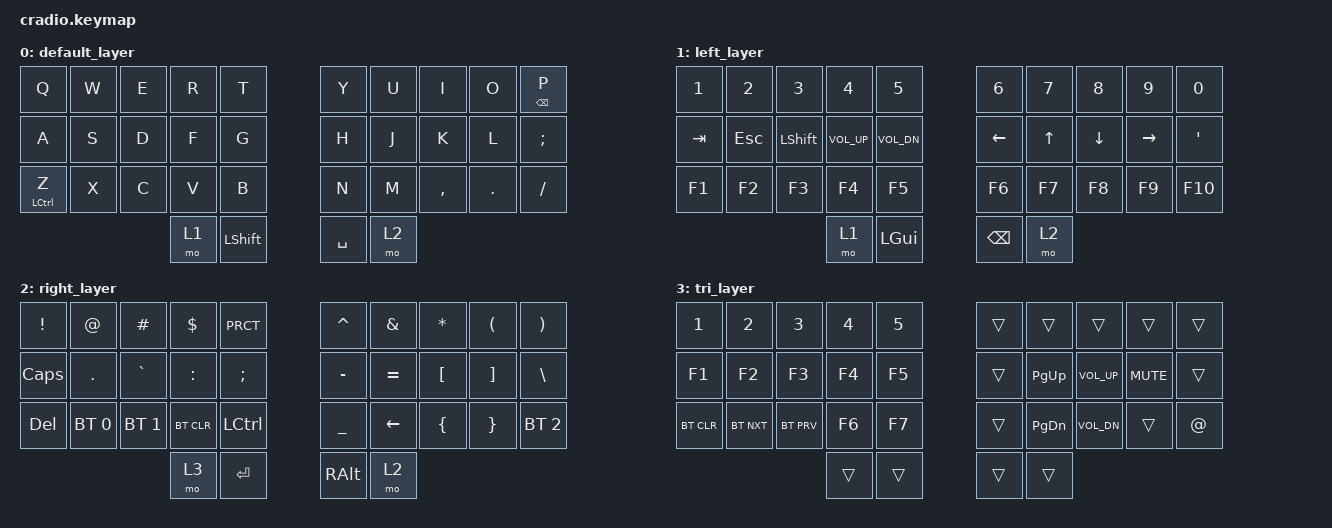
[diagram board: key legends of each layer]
/*
 * Copyright (c) 2020 The ZMK Contributors
 *
 * SPDX-License-Identifier: MIT
 */

#include <behaviors.dtsi>
#include <dt-bindings/zmk/keys.h>
#include <dt-bindings/zmk/bt.h>


&mt {
  //  flavor = "tap-preferred";
   // tapping_term_ms = <200>;
};

/ { 

    combos {
        compatible = "zmk,combos";
        combo_esc {
            timeout-ms = <50>;
            key-positions = <0 1>;
            bindings = <&kp ESC>;
        };
        
         combo_tab {
            timeout-ms = <50>;
            key-positions = <10 11>;
            bindings = <&kp TAB>;
        };
        
            combo_ralt {
            timeout-ms = <50>;
            key-positions = <17 16>;
            bindings = <&kp RALT>;
        };
        
                    combo_lalt {
            timeout-ms = <50>;
            key-positions = <11 12>;
            bindings = <&kp LALT>;
        };
        
                           combo_lgui {
            timeout-ms = <50>;
            key-positions = <12 13>;
            bindings = <&kp LGUI>;
        };
        
        
           combo_rgui {
            timeout-ms = <50>;
            key-positions = <17 18>;
            bindings = <&kp RGUI>;
        };
        

        
    };

        keymap {
                compatible = "zmk,keymap";
                
       		default_layer {
		bindings = <
		&kp Q &kp W &kp E &kp R &kp T 						&kp Y &kp U  &kp I    &kp O   &mt BSPC P 
		&kp A &kp S &kp D &kp F &kp G 			        	        &kp H &kp J &kp K &kp L &kp SEMI
		&mt LCTL Z &kp X &kp C &kp V &kp B			                &kp N &kp M  &kp CMMA &kp DOT &kp FSLH
          				&mo 1 &kp LSHFT  				&kp SPC &mo 2 
		>;
		};

       		left_layer {
		bindings = <
		&kp NUM_1  &kp NUM_2    &kp NUM_3    &kp NUM_4    &kp NUM_5		&kp NUM_6 &kp NUM_7 &kp NUM_8 &kp NUM_9 &kp NUM_0 
		&kp TAB    &kp ESC    &kp LSHFT      &kp C_VOL_UP     &kp C_VOL_DN 	&kp LEFT &kp UP  &kp DOWN &kp RIGHT  &kp SQT 
		&kp F1    &kp F2 	&kp F3 &kp F4  &kp F5                   	&kp F6 &kp F7 &kp F8 &kp F9  &kp F10 
					    &mo 1  &kp LGUI  					&kp BSPC &mo 2 
		>;
		};
		
		right_layer {
		bindings = <
		&kp EXCL  &kp AT &kp HASH  &kp DLLR  &kp PRCT    			&kp CARET  &kp AMPS &kp STAR &kp LPAR &kp RPAR 
		&kp CLCK  &kp DOT  &kp GRAVE  &kp COLN  &kp SCLN 			&kp MINUS &kp EQUAL  &kp LBKT  &kp RBKT   &kp BSLH
		&kp DEL  &bt BT_SEL 0 &bt BT_SEL 1 &bt BT_CLR   &kp LCTL    		&kp UNDER &kp LEFT  &kp LBRC &kp RBRC  &bt BT_SEL 2
					  &mo 3 &kp ENTER  				&kp RALT  &mo 2 
		>;
		};	
		
		tri_layer {
		bindings = <
		&kp NUM_1  &kp NUM_2    &kp NUM_3    &kp NUM_4    &kp NUM_5 			&trans &trans   &trans   &trans  &trans
		&kp F1 &kp F2 &kp F3 &kp F4 &kp F5  						&trans &kp PG_UP  &kp K_VOL_UP &kp K_MUTE &trans 
		&bt BT_CLR  &bt BT_NXT &bt BT_PRV &kp F6 &kp F7   				&trans &kp PG_DN  &kp K_VOL_DN  &trans &kp AT_SIGN   
					 &trans &trans  					&trans &trans 
		>;
		};	
        
	};
};
